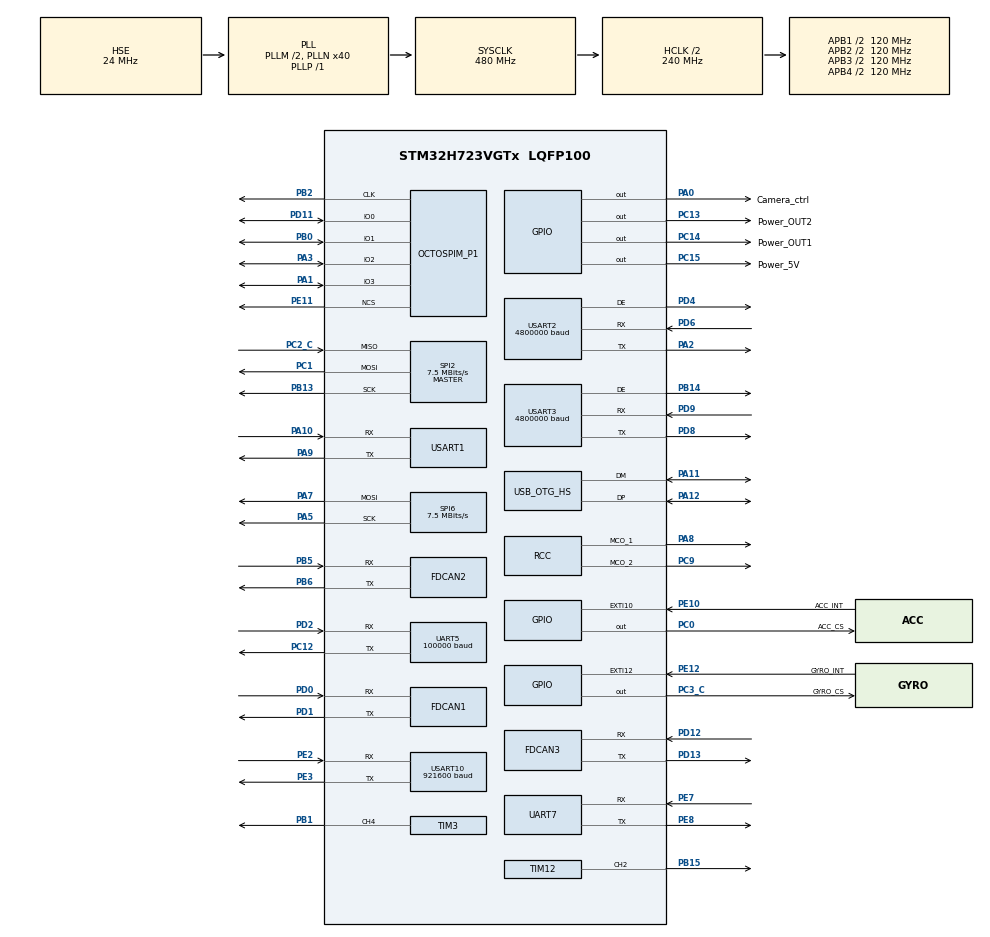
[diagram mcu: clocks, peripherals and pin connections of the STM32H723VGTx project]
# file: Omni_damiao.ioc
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CORTEX_M7.AccessPermission-Cortex_Memory_Protection_Unit_Region0_Settings=MPU_REGION_PRIV_RO
CORTEX_M7.AccessPermission-Cortex_Memory_Protection_Unit_Region1_Settings=MPU_REGION_FULL_ACCESS
CORTEX_M7.BaseAddress-Cortex_Memory_Protection_Unit_Region0_Settings=0x08000000
CORTEX_M7.BaseAddress-Cortex_Memory_Protection_Unit_Region1_Settings=0x20000000
CORTEX_M7.Enable-Cortex_Memory_Protection_Unit_Region0_Settings=MPU_REGION_ENABLE
CORTEX_M7.Enable-Cortex_Memory_Protection_Unit_Region1_Settings=MPU_REGION_ENABLE
CORTEX_M7.IsCacheable-Cortex_Memory_Protection_Unit_Region0_Settings=MPU_ACCESS_CACHEABLE
CORTEX_M7.MPU_Control=MPU_PRIVILEGED_DEFAULT
CORTEX_M7.Number-Cortex_Memory_Protection_Unit_Region1_Settings=MPU_REGION_NUMBER1
CORTEX_M7.Number-Cortex_Memory_Protection_Unit_Region2_Settings=MPU_REGION_NUMBER2
CORTEX_M7.Number-Cortex_Memory_Protection_Unit_Region3_Settings=MPU_REGION_NUMBER3
CORTEX_M7.Number-Cortex_Memory_Protection_Unit_Region4_Settings=MPU_REGION_NUMBER4
CORTEX_M7.Size-Cortex_Memory_Protection_Unit_Region0_Settings=MPU_REGION_SIZE_1MB
CORTEX_M7.Size-Cortex_Memory_Protection_Unit_Region1_Settings=MPU_REGION_SIZE_128MB
CORTEX_M7.SubRegionDisable-Cortex_Memory_Protection_Unit_Region1_Settings=0xEE
CORTEX_M7.TypeExtField-Cortex_Memory_Protection_Unit_Region0_Settings=MPU_TEX_LEVEL1
CORTEX_M7.TypeExtField-Cortex_Memory_Protection_Unit_Region1_Settings=MPU_TEX_LEVEL1
Dma.Request0=SPI2_RX
Dma.Request1=SPI2_TX
Dma.Request10=USART2_TX
Dma.Request11=USART1_RX
Dma.Request12=USART1_TX
Dma.Request2=UART5_RX
Dma.Request3=UART7_RX
Dma.Request4=UART7_TX
Dma.Request5=USART10_RX
Dma.Request6=USART10_TX
Dma.Request7=USART3_RX
Dma.Request8=USART3_TX
Dma.Request9=USART2_RX
Dma.SPI2_RX.0.Direction=DMA_PERIPH_TO_MEMORY
Dma.SPI2_RX.0.EventEnable=DISABLE
Dma.SPI2_RX.0.FIFOMode=DMA_FIFOMODE_DISABLE
Dma.SPI2_RX.0.Instance=DMA1_Stream0
Dma.SPI2_RX.0.MemDataAlignment=DMA_MDATAALIGN_BYTE
Dma.SPI2_RX.0.MemInc=DMA_MINC_ENABLE
Dma.SPI2_RX.0.Mode=DMA_NORMAL
Dma.SPI2_RX.0.PeriphDataAlignment=DMA_PDATAALIGN_BYTE
Dma.SPI2_RX.0.PeriphInc=DMA_PINC_DISABLE
Dma.SPI2_RX.0.Polarity=HAL_DMAMUX_REQ_GEN_RISING
Dma.SPI2_RX.0.Priority=DMA_PRIORITY_VERY_HIGH
Dma.SPI2_RX.0.RequestNumber=1
Dma.SPI2_RX.0.SignalID=NONE
Dma.SPI2_RX.0.SyncEnable=DISABLE
Dma.SPI2_RX.0.SyncPolarity=HAL_DMAMUX_SYNC_NO_EVENT
Dma.SPI2_RX.0.SyncRequestNumber=1
Dma.SPI2_RX.0.SyncSignalID=NONE
Dma.SPI2_TX.1.Direction=DMA_MEMORY_TO_PERIPH
Dma.SPI2_TX.1.EventEnable=DISABLE
Dma.SPI2_TX.1.FIFOMode=DMA_FIFOMODE_DISABLE
Dma.SPI2_TX.1.Instance=DMA1_Stream1
Dma.SPI2_TX.1.MemDataAlignment=DMA_MDATAALIGN_BYTE
Dma.SPI2_TX.1.MemInc=DMA_MINC_ENABLE
Dma.SPI2_TX.1.Mode=DMA_NORMAL
Dma.SPI2_TX.1.PeriphDataAlignment=DMA_PDATAALIGN_BYTE
Dma.SPI2_TX.1.PeriphInc=DMA_PINC_DISABLE
Dma.SPI2_TX.1.Polarity=HAL_DMAMUX_REQ_GEN_RISING
Dma.SPI2_TX.1.Priority=DMA_PRIORITY_VERY_HIGH
Dma.SPI2_TX.1.RequestNumber=1
Dma.SPI2_TX.1.SignalID=NONE
Dma.SPI2_TX.1.SyncEnable=DISABLE
Dma.SPI2_TX.1.SyncPolarity=HAL_DMAMUX_SYNC_NO_EVENT
Dma.SPI2_TX.1.SyncRequestNumber=1
Dma.SPI2_TX.1.SyncSignalID=NONE
Dma.UART5_RX.2.Direction=DMA_PERIPH_TO_MEMORY
Dma.UART5_RX.2.EventEnable=DISABLE
Dma.UART5_RX.2.FIFOMode=DMA_FIFOMODE_DISABLE
Dma.UART5_RX.2.Instance=DMA1_Stream2
Dma.UART5_RX.2.MemDataAlignment=DMA_MDATAALIGN_BYTE
Dma.UART5_RX.2.MemInc=DMA_MINC_ENABLE
Dma.UART5_RX.2.Mode=DMA_NORMAL
Dma.UART5_RX.2.PeriphDataAlignment=DMA_PDATAALIGN_BYTE
Dma.UART5_RX.2.PeriphInc=DMA_PINC_DISABLE
Dma.UART5_RX.2.Polarity=HAL_DMAMUX_REQ_GEN_RISING
Dma.UART5_RX.2.Priority=DMA_PRIORITY_VERY_HIGH
Dma.UART5_RX.2.RequestNumber=1
Dma.UART5_RX.2.SignalID=NONE
Dma.UART5_RX.2.SyncEnable=DISABLE
Dma.UART5_RX.2.SyncPolarity=HAL_DMAMUX_SYNC_NO_EVENT
Dma.UART5_RX.2.SyncRequestNumber=1
Dma.UART5_RX.2.SyncSignalID=NONE
Dma.UART7_RX.3.Direction=DMA_PERIPH_TO_MEMORY
Dma.UART7_RX.3.EventEnable=DISABLE
Dma.UART7_RX.3.FIFOMode=DMA_FIFOMODE_DISABLE
Dma.UART7_RX.3.Instance=DMA1_Stream3
Dma.UART7_RX.3.MemDataAlignment=DMA_MDATAALIGN_BYTE
Dma.UART7_RX.3.MemInc=DMA_MINC_ENABLE
Dma.UART7_RX.3.Mode=DMA_NORMAL
Dma.UART7_RX.3.PeriphDataAlignment=DMA_PDATAALIGN_BYTE
Dma.UART7_RX.3.PeriphInc=DMA_PINC_DISABLE
Dma.UART7_RX.3.Polarity=HAL_DMAMUX_REQ_GEN_RISING
Dma.UART7_RX.3.Priority=DMA_PRIORITY_VERY_HIGH
Dma.UART7_RX.3.RequestNumber=1
Dma.UART7_RX.3.SignalID=NONE
Dma.UART7_RX.3.SyncEnable=DISABLE
Dma.UART7_RX.3.SyncPolarity=HAL_DMAMUX_SYNC_NO_EVENT
Dma.UART7_RX.3.SyncRequestNumber=1
Dma.UART7_RX.3.SyncSignalID=NONE
Dma.UART7_TX.4.Direction=DMA_MEMORY_TO_PERIPH
Dma.UART7_TX.4.EventEnable=DISABLE
Dma.UART7_TX.4.FIFOMode=DMA_FIFOMODE_DISABLE
Dma.UART7_TX.4.Instance=DMA1_Stream4
Dma.UART7_TX.4.MemDataAlignment=DMA_MDATAALIGN_BYTE
Dma.UART7_TX.4.MemInc=DMA_MINC_ENABLE
Dma.UART7_TX.4.Mode=DMA_NORMAL
Dma.UART7_TX.4.PeriphDataAlignment=DMA_PDATAALIGN_BYTE
Dma.UART7_TX.4.PeriphInc=DMA_PINC_DISABLE
Dma.UART7_TX.4.Polarity=HAL_DMAMUX_REQ_GEN_RISING
Dma.UART7_TX.4.Priority=DMA_PRIORITY_VERY_HIGH
Dma.UART7_TX.4.RequestNumber=1
Dma.UART7_TX.4.SignalID=NONE
Dma.UART7_TX.4.SyncEnable=DISABLE
Dma.UART7_TX.4.SyncPolarity=HAL_DMAMUX_SYNC_NO_EVENT
Dma.UART7_TX.4.SyncRequestNumber=1
Dma.UART7_TX.4.SyncSignalID=NONE
Dma.USART10_RX.5.Direction=DMA_PERIPH_TO_MEMORY
Dma.USART10_RX.5.EventEnable=DISABLE
Dma.USART10_RX.5.FIFOMode=DMA_FIFOMODE_DISABLE
Dma.USART10_RX.5.Instance=DMA1_Stream5
Dma.USART10_RX.5.MemDataAlignment=DMA_MDATAALIGN_BYTE
Dma.USART10_RX.5.MemInc=DMA_MINC_ENABLE
Dma.USART10_RX.5.Mode=DMA_NORMAL
Dma.USART10_RX.5.PeriphDataAlignment=DMA_PDATAALIGN_BYTE
Dma.USART10_RX.5.PeriphInc=DMA_PINC_DISABLE
Dma.USART10_RX.5.Polarity=HAL_DMAMUX_REQ_GEN_RISING
Dma.USART10_RX.5.Priority=DMA_PRIORITY_VERY_HIGH
Dma.USART10_RX.5.RequestNumber=1
Dma.USART10_RX.5.SignalID=NONE
Dma.USART10_RX.5.SyncEnable=DISABLE
Dma.USART10_RX.5.SyncPolarity=HAL_DMAMUX_SYNC_NO_EVENT
Dma.USART10_RX.5.SyncRequestNumber=1
Dma.USART10_RX.5.SyncSignalID=NONE
Dma.USART10_TX.6.Direction=DMA_MEMORY_TO_PERIPH
Dma.USART10_TX.6.EventEnable=DISABLE
Dma.USART10_TX.6.FIFOMode=DMA_FIFOMODE_DISABLE
Dma.USART10_TX.6.Instance=DMA1_Stream6
Dma.USART10_TX.6.MemDataAlignment=DMA_MDATAALIGN_BYTE
Dma.USART10_TX.6.MemInc=DMA_MINC_ENABLE
Dma.USART10_TX.6.Mode=DMA_NORMAL
Dma.USART10_TX.6.PeriphDataAlignment=DMA_PDATAALIGN_BYTE
Dma.USART10_TX.6.PeriphInc=DMA_PINC_DISABLE
Dma.USART10_TX.6.Polarity=HAL_DMAMUX_REQ_GEN_RISING
Dma.USART10_TX.6.Priority=DMA_PRIORITY_VERY_HIGH
Dma.USART10_TX.6.RequestNumber=1
Dma.USART10_TX.6.SignalID=NONE
Dma.USART10_TX.6.SyncEnable=DISABLE
Dma.USART10_TX.6.SyncPolarity=HAL_DMAMUX_SYNC_NO_EVENT
Dma.USART10_TX.6.SyncRequestNumber=1
Dma.USART10_TX.6.SyncSignalID=NONE
Dma.USART1_RX.11.Direction=DMA_PERIPH_TO_MEMORY
Dma.USART1_RX.11.EventEnable=DISABLE
Dma.USART1_RX.11.FIFOMode=DMA_FIFOMODE_DISABLE
Dma.USART1_RX.11.Instance=DMA2_Stream3
Dma.USART1_RX.11.MemDataAlignment=DMA_MDATAALIGN_BYTE
Dma.USART1_RX.11.MemInc=DMA_MINC_ENABLE
Dma.USART1_RX.11.Mode=DMA_NORMAL
Dma.USART1_RX.11.PeriphDataAlignment=DMA_PDATAALIGN_BYTE
Dma.USART1_RX.11.PeriphInc=DMA_PINC_DISABLE
Dma.USART1_RX.11.Polarity=HAL_DMAMUX_REQ_GEN_RISING
Dma.USART1_RX.11.Priority=DMA_PRIORITY_LOW
Dma.USART1_RX.11.RequestNumber=1
Dma.USART1_RX.11.SignalID=NONE
Dma.USART1_RX.11.SyncEnable=DISABLE
Dma.USART1_RX.11.SyncPolarity=HAL_DMAMUX_SYNC_NO_EVENT
Dma.USART1_RX.11.SyncRequestNumber=1
Dma.USART1_RX.11.SyncSignalID=NONE
Dma.USART1_TX.12.Direction=DMA_MEMORY_TO_PERIPH
Dma.USART1_TX.12.EventEnable=DISABLE
Dma.USART1_TX.12.FIFOMode=DMA_FIFOMODE_DISABLE
Dma.USART1_TX.12.Instance=DMA2_Stream4
Dma.USART1_TX.12.MemDataAlignment=DMA_MDATAALIGN_BYTE
Dma.USART1_TX.12.MemInc=DMA_MINC_ENABLE
Dma.USART1_TX.12.Mode=DMA_NORMAL
Dma.USART1_TX.12.PeriphDataAlignment=DMA_PDATAALIGN_BYTE
Dma.USART1_TX.12.PeriphInc=DMA_PINC_DISABLE
Dma.USART1_TX.12.Polarity=HAL_DMAMUX_REQ_GEN_RISING
Dma.USART1_TX.12.Priority=DMA_PRIORITY_LOW
Dma.USART1_TX.12.RequestNumber=1
Dma.USART1_TX.12.SignalID=NONE
Dma.USART1_TX.12.SyncEnable=DISABLE
Dma.USART1_TX.12.SyncPolarity=HAL_DMAMUX_SYNC_NO_EVENT
Dma.USART1_TX.12.SyncRequestNumber=1
Dma.USART1_TX.12.SyncSignalID=NONE
Dma.USART2_RX.9.Direction=DMA_PERIPH_TO_MEMORY
Dma.USART2_RX.9.EventEnable=DISABLE
Dma.USART2_RX.9.FIFOMode=DMA_FIFOMODE_DISABLE
Dma.USART2_RX.9.Instance=DMA2_Stream1
Dma.USART2_RX.9.MemDataAlignment=DMA_MDATAALIGN_BYTE
Dma.USART2_RX.9.MemInc=DMA_MINC_ENABLE
Dma.USART2_RX.9.Mode=DMA_NORMAL
Dma.USART2_RX.9.PeriphDataAlignment=DMA_PDATAALIGN_BYTE
Dma.USART2_RX.9.PeriphInc=DMA_PINC_DISABLE
Dma.USART2_RX.9.Polarity=HAL_DMAMUX_REQ_GEN_RISING
Dma.USART2_RX.9.Priority=DMA_PRIORITY_VERY_HIGH
Dma.USART2_RX.9.RequestNumber=1
Dma.USART2_RX.9.SignalID=NONE
Dma.USART2_RX.9.SyncEnable=DISABLE
Dma.USART2_RX.9.SyncPolarity=HAL_DMAMUX_SYNC_NO_EVENT
Dma.USART2_RX.9.SyncRequestNumber=1
Dma.USART2_RX.9.SyncSignalID=NONE
Dma.USART2_TX.10.Direction=DMA_MEMORY_TO_PERIPH
Dma.USART2_TX.10.EventEnable=DISABLE
Dma.USART2_TX.10.FIFOMode=DMA_FIFOMODE_DISABLE
Dma.USART2_TX.10.Instance=DMA2_Stream2
Dma.USART2_TX.10.MemDataAlignment=DMA_MDATAALIGN_BYTE
Dma.USART2_TX.10.MemInc=DMA_MINC_ENABLE
Dma.USART2_TX.10.Mode=DMA_NORMAL
Dma.USART2_TX.10.PeriphDataAlignment=DMA_PDATAALIGN_BYTE
Dma.USART2_TX.10.PeriphInc=DMA_PINC_DISABLE
Dma.USART2_TX.10.Polarity=HAL_DMAMUX_REQ_GEN_RISING
Dma.USART2_TX.10.Priority=DMA_PRIORITY_VERY_HIGH
Dma.USART2_TX.10.RequestNumber=1
Dma.USART2_TX.10.SignalID=NONE
Dma.USART2_TX.10.SyncEnable=DISABLE
Dma.USART2_TX.10.SyncPolarity=HAL_DMAMUX_SYNC_NO_EVENT
Dma.USART2_TX.10.SyncRequestNumber=1
Dma.USART2_TX.10.SyncSignalID=NONE
Dma.USART3_RX.7.Direction=DMA_PERIPH_TO_MEMORY
Dma.USART3_RX.7.EventEnable=DISABLE
Dma.USART3_RX.7.FIFOMode=DMA_FIFOMODE_DISABLE
Dma.USART3_RX.7.Instance=DMA1_Stream7
Dma.USART3_RX.7.MemDataAlignment=DMA_MDATAALIGN_BYTE
Dma.USART3_RX.7.MemInc=DMA_MINC_ENABLE
Dma.USART3_RX.7.Mode=DMA_NORMAL
Dma.USART3_RX.7.PeriphDataAlignment=DMA_PDATAALIGN_BYTE
Dma.USART3_RX.7.PeriphInc=DMA_PINC_DISABLE
Dma.USART3_RX.7.Polarity=HAL_DMAMUX_REQ_GEN_RISING
Dma.USART3_RX.7.Priority=DMA_PRIORITY_VERY_HIGH
Dma.USART3_RX.7.RequestNumber=1
Dma.USART3_RX.7.SignalID=NONE
Dma.USART3_RX.7.SyncEnable=DISABLE
Dma.USART3_RX.7.SyncPolarity=HAL_DMAMUX_SYNC_NO_EVENT
Dma.USART3_RX.7.SyncRequestNumber=1
Dma.USART3_RX.7.SyncSignalID=NONE
Dma.USART3_TX.8.Direction=DMA_MEMORY_TO_PERIPH
Dma.USART3_TX.8.EventEnable=DISABLE
Dma.USART3_TX.8.FIFOMode=DMA_FIFOMODE_DISABLE
Dma.USART3_TX.8.Instance=DMA2_Stream0
Dma.USART3_TX.8.MemDataAlignment=DMA_MDATAALIGN_BYTE
Dma.USART3_TX.8.MemInc=DMA_MINC_ENABLE
Dma.USART3_TX.8.Mode=DMA_NORMAL
Dma.USART3_TX.8.PeriphDataAlignment=DMA_PDATAALIGN_BYTE
Dma.USART3_TX.8.PeriphInc=DMA_PINC_DISABLE
Dma.USART3_TX.8.Polarity=HAL_DMAMUX_REQ_GEN_RISING
Dma.USART3_TX.8.Priority=DMA_PRIORITY_VERY_HIGH
Dma.USART3_TX.8.RequestNumber=1
Dma.USART3_TX.8.SignalID=NONE
Dma.USART3_TX.8.SyncEnable=DISABLE
Dma.USART3_TX.8.SyncPolarity=HAL_DMAMUX_SYNC_NO_EVENT
Dma.USART3_TX.8.SyncRequestNumber=1
Dma.USART3_TX.8.SyncSignalID=NONE
FDCAN1.AutoRetransmission=DISABLE
FDCAN1.CalculateBaudRateNominal=1000000
FDCAN1.CalculateTimeBitNominal=1000
FDCAN1.CalculateTimeQuantumNominal=25.0
FDCAN1.DataPrescaler=3
FDCAN1.DataSyncJumpWidth=10
FDCAN1.DataTimeSeg1=29
FDCAN1.DataTimeSeg2=10
FDCAN1.NominalPrescaler=3
FDCAN1.NominalSyncJumpWidth=10
FDCAN1.NominalTimeSeg1=29
FDCAN1.NominalTimeSeg2=10
FDCAN1.RxFifo0ElmtsNbr=4
FDCAN1.StdFiltersNbr=1
FDCAN1.TxFifoQueueElmtsNbr=32
FDCAN2.AutoRetransmission=DISABLE
FDCAN2.CalculateBaudRateNominal=1000000
FDCAN2.CalculateTimeBitNominal=1000
FDCAN2.CalculateTimeQuantumNominal=25.0
FDCAN2.DataPrescaler=3
FDCAN2.DataSyncJumpWidth=10
FDCAN2.DataTimeSeg1=29
FDCAN2.DataTimeSeg2=10
FDCAN2.MessageRAMOffset=0x406
FDCAN2.NominalPrescaler=3
FDCAN2.NominalSyncJumpWidth=10
FDCAN2.NominalTimeSeg1=29
FDCAN2.NominalTimeSeg2=10
FDCAN2.RxFifo0ElmtsNbr=4
FDCAN2.StdFiltersNbr=1
FDCAN2.TxFifoQueueElmtsNbr=32
FDCAN3.AutoRetransmission=DISABLE
FDCAN3.CalculateBaudRateNominal=1000000
FDCAN3.CalculateTimeBitNominal=1000
FDCAN3.CalculateTimeQuantumNominal=25.0
FDCAN3.DataPrescaler=3
FDCAN3.DataSyncJumpWidth=10
FDCAN3.DataTimeSeg1=29
FDCAN3.DataTimeSeg2=10
FDCAN3.MessageRAMOffset=0x812
FDCAN3.NominalPrescaler=3
FDCAN3.NominalSyncJumpWidth=10
FDCAN3.NominalTimeSeg1=29
FDCAN3.NominalTimeSeg2=10
FDCAN3.RxFifo0ElmtsNbr=4
FDCAN3.StdFiltersNbr=1
FDCAN3.TxFifoQueueElmtsNbr=32
FREERTOS.Tasks01=Remote_control,24,512,Remote_control_Task,Default,NULL,Dynamic,NULL,NULL;Gimbal,8,512,Gimbal_Task,Default,NULL,Dynamic,NULL,NULL;Chassis,8,1024,Chassis_Task,Default,NULL,Dynamic,NULL,NULL;Motor_control,8,256,Motor_control_Task,Default,NULL,Dynamic,NULL,NULL;Shoot,8,256,Shoot_Task,Default,NULL,Dynamic,NULL,NULL;Referee,8,512,Referee_Task,Default,NULL,Dynamic,NULL,NULL;Log_and_debug,8,256,Log_and_debug_Task,Default,NULL,Dynamic,NULL,NULL
FREERTOS.configENABLE_FPU=1
FREERTOS.configUSE_IDLE_HOOK=1
Mcu.Family=STM32H7
Mcu.Name=STM32H723VGTx
Mcu.Package=LQFP100
NVIC.DMA1_Stream0_IRQn=true\:5\:0\:false\:false\:true\:true\:false\:true\:true
NVIC.DMA1_Stream1_IRQn=true\:5\:0\:false\:false\:true\:true\:false\:true\:true
NVIC.DMA1_Stream2_IRQn=true\:5\:0\:false\:false\:true\:true\:false\:true\:true
NVIC.DMA1_Stream3_IRQn=true\:5\:0\:true\:false\:true\:true\:false\:true\:true
NVIC.DMA1_Stream4_IRQn=true\:5\:0\:true\:false\:true\:true\:false\:true\:true
NVIC.DMA1_Stream5_IRQn=true\:5\:0\:false\:false\:true\:true\:false\:true\:true
NVIC.DMA1_Stream6_IRQn=true\:5\:0\:false\:false\:true\:true\:false\:true\:true
NVIC.DMA1_Stream7_IRQn=true\:5\:0\:false\:false\:true\:true\:false\:true\:true
NVIC.DMA2_Stream0_IRQn=true\:5\:0\:false\:false\:true\:true\:false\:true\:true
NVIC.DMA2_Stream1_IRQn=true\:5\:0\:false\:false\:true\:true\:false\:true\:true
NVIC.DMA2_Stream2_IRQn=true\:5\:0\:false\:false\:true\:true\:false\:true\:true
NVIC.DMA2_Stream3_IRQn=true\:5\:0\:false\:false\:true\:true\:false\:true\:true
NVIC.DMA2_Stream4_IRQn=true\:5\:0\:false\:false\:true\:true\:false\:true\:true
NVIC.FDCAN1_IT0_IRQn=true\:5\:0\:false\:false\:true\:true\:true\:true\:true
NVIC.FDCAN1_IT1_IRQn=true\:5\:0\:false\:false\:true\:true\:true\:true\:true
NVIC.FDCAN2_IT0_IRQn=true\:5\:0\:false\:false\:true\:true\:true\:true\:true
NVIC.FDCAN2_IT1_IRQn=true\:5\:0\:false\:false\:true\:true\:true\:true\:true
NVIC.FDCAN3_IT0_IRQn=true\:5\:0\:false\:false\:true\:true\:true\:true\:true
NVIC.FDCAN3_IT1_IRQn=true\:5\:0\:false\:false\:true\:true\:true\:true\:true
NVIC.OTG_HS_IRQn=true\:5\:0\:false\:false\:true\:true\:true\:true\:true
NVIC.PriorityGroup=NVIC_PRIORITYGROUP_4
NVIC.SPI2_IRQn=true\:5\:0\:false\:false\:true\:true\:true\:true\:true
NVIC.TIM23_IRQn=true\:15\:0\:true\:false\:true\:false\:false\:true\:true
NVIC.TIM8_BRK_TIM12_IRQn=true\:5\:0\:false\:false\:true\:true\:true\:true\:true
NVIC.TIM8_TRG_COM_TIM14_IRQn=true\:5\:0\:false\:false\:true\:true\:true\:true\:true
NVIC.TIM8_UP_TIM13_IRQn=true\:5\:0\:true\:false\:true\:true\:true\:true\:true
NVIC.TimeBase=TIM23_IRQn
NVIC.TimeBaseIP=TIM23
NVIC.UART5_IRQn=true\:5\:0\:false\:false\:true\:true\:true\:true\:true
NVIC.UART7_IRQn=true\:5\:0\:true\:false\:true\:true\:true\:true\:true
NVIC.USART10_IRQn=true\:5\:0\:false\:false\:true\:true\:true\:true\:true
NVIC.USART1_IRQn=true\:5\:0\:false\:false\:true\:true\:true\:true\:true
NVIC.USART2_IRQn=true\:5\:0\:false\:false\:true\:true\:true\:true\:true
NVIC.USART3_IRQn=true\:5\:0\:false\:false\:true\:true\:true\:true\:true
OCTOSPI2.ClockMode=HAL_OSPI_CLOCK_MODE_3
OCTOSPI2.ClockPrescaler=3
OCTOSPI2.DeviceSize=23
OCTOSPI2.DeviceType=SPI_DEVICE_FLASH
OCTOSPI2.FifoThreshold=8
OCTOSPI2.SampleShifting=HAL_OSPI_SAMPLE_SHIFTING_HALFCYCLE
PA0.GPIO_Label=Camera_ctrl
PA0.GPIO_PuPd=GPIO_PULLDOWN
PA0.GPIO_Speed=GPIO_SPEED_FREQ_VERY_HIGH
PA0.PinState=GPIO_PIN_SET
PA0.Signal=GPIO_Output
PA1.Mode=OCTOSPI2_IOL_Port1L
PA1.Signal=OCTOSPIM_P1_IO3
PA10.Mode=Asynchronous
PA10.Signal=USART1_RX
PA11.Mode=Device_Only_FS
PA11.Signal=USB_OTG_HS_DM
PA12.Mode=Device_Only_FS
PA12.Signal=USB_OTG_HS_DP
PA13(JTMS/SWDIO).Mode=Serial_Wire
PA13(JTMS/SWDIO).Signal=DEBUG_JTMS-SWDIO
PA14(JTCK/SWCLK).Mode=Serial_Wire
PA14(JTCK/SWCLK).Signal=DEBUG_JTCK-SWCLK
PA2.Mode=Asynchronous
PA2.Signal=USART2_TX
PA3.Mode=OCTOSPI2_IOL_Port1L
PA3.Signal=OCTOSPIM_P1_IO2
PA5.GPIO_Speed=GPIO_SPEED_FREQ_VERY_HIGH
PA5.Mode=TX_Only_Simplex_Unidirect_Master
PA5.Signal=SPI6_SCK
PA7.Mode=TX_Only_Simplex_Unidirect_Master
PA7.Signal=SPI6_MOSI
PA8.Mode=Clock-out-1
PA8.Signal=RCC_MCO_1
PA9.Mode=Asynchronous
PA9.Signal=USART1_TX
PB0.Mode=OCTOSPI2_IOL_Port1L
PB0.Signal=OCTOSPIM_P1_IO1
PB1.Signal=S_TIM3_CH4
PB13.Mode=Full_Duplex_Master
PB13.Signal=SPI2_SCK
PB14.Mode=Hardware Flow Control (RS485)
PB14.Signal=USART3_DE
PB15.Signal=S_TIM12_CH2
PB2.Mode=O2_P1_CLK
PB2.Signal=OCTOSPIM_P1_CLK
PB5.Mode=FDCAN_Activate
PB5.Signal=FDCAN2_RX
PB6.Mode=FDCAN_Activate
PB6.Signal=FDCAN2_TX
PC0.GPIO_Label=ACC_CS
PC0.GPIO_Speed=GPIO_SPEED_FREQ_VERY_HIGH
PC0.PinState=GPIO_PIN_SET
PC0.Signal=GPIO_Output
PC1.Mode=Full_Duplex_Master
PC1.Signal=SPI2_MOSI
PC12.Mode=Asynchronous
PC12.Signal=UART5_TX
PC13.GPIO_Label=Power_OUT2
PC13.PinState=GPIO_PIN_SET
PC13.Signal=GPIO_Output
PC14-OSC32_IN.GPIO_Label=Power_OUT1
PC14-OSC32_IN.PinState=GPIO_PIN_SET
PC14-OSC32_IN.Signal=GPIO_Output
PC15-OSC32_OUT.GPIO_Label=Power_5V
PC15-OSC32_OUT.Signal=GPIO_Output
PC2_C.Mode=Full_Duplex_Master
PC2_C.Signal=SPI2_MISO
PC3_C.GPIO_Label=GYRO_CS
PC3_C.GPIO_Speed=GPIO_SPEED_FREQ_VERY_HIGH
PC3_C.PinState=GPIO_PIN_SET
PC3_C.Signal=GPIO_Output
PC9.Mode=Clock-out-2
PC9.Signal=RCC_MCO_2
PD0.Mode=FDCAN_Activate
PD0.Signal=FDCAN1_RX
PD1.Mode=FDCAN_Activate
PD1.Signal=FDCAN1_TX
PD11.Mode=OCTOSPI2_IOL_Port1L
PD11.Signal=OCTOSPIM_P1_IO0
PD12.Mode=FDCAN_Activate
PD12.Signal=FDCAN3_RX
PD13.Mode=FDCAN_Activate
PD13.Signal=FDCAN3_TX
PD2.Mode=Asynchronous
PD2.Signal=UART5_RX
PD4.Mode=Hardware Flow Control (RS485)
PD4.Signal=USART2_DE
PD6.Mode=Asynchronous
PD6.Signal=USART2_RX
PD8.Mode=Asynchronous
PD8.Signal=USART3_TX
PD9.Mode=Asynchronous
PD9.Signal=USART3_RX
PE10.GPIO_Label=ACC_INT
PE10.Signal=GPXTI10
PE11.Mode=OCTOSPI2_Port1_NCS
PE11.Signal=OCTOSPIM_P1_NCS
PE12.GPIO_Label=GYRO_INT
PE12.Signal=GPXTI12
PE2.GPIO_Speed=GPIO_SPEED_FREQ_VERY_HIGH
PE2.Mode=Asynchronous
PE2.Signal=USART10_RX
PE3.GPIO_Speed=GPIO_SPEED_FREQ_VERY_HIGH
PE3.Mode=Asynchronous
PE3.Signal=USART10_TX
PE7.GPIO_Speed=GPIO_SPEED_FREQ_VERY_HIGH
PE7.Mode=Asynchronous
PE7.Signal=UART7_RX
PE8.GPIO_Speed=GPIO_SPEED_FREQ_VERY_HIGH
PE8.Mode=Asynchronous
PE8.Signal=UART7_TX
PH0-OSC_IN.Mode=HSE-External-Oscillator
PH0-OSC_IN.Signal=RCC_OSC_IN
PH1-OSC_OUT.Mode=HSE-External-Oscillator
PH1-OSC_OUT.Signal=RCC_OSC_OUT
ProjectManager.HeapSize=0x200
ProjectManager.StackSize=0x400
ProjectManager.TargetToolchain=Makefile
RCC.ADCFreq_Value=48375000
RCC.APB1Freq_Value=120000000
RCC.APB2Freq_Value=120000000
RCC.APB3Freq_Value=120000000
RCC.APB4Freq_Value=120000000
RCC.CortexFreq_Value=480000000
RCC.D1PPRE=RCC_APB3_DIV2
RCC.D2PPRE1=RCC_APB1_DIV2
RCC.D2PPRE2=RCC_APB2_DIV2
RCC.D3PPRE=RCC_APB4_DIV2
RCC.DIVM1=2
RCC.DIVN1=40
RCC.DIVP1=1
RCC.DIVQ1=4
RCC.HCLKFreq_Value=240000000
RCC.HPRE=RCC_HCLK_DIV2
RCC.HSE_VALUE=24000000
RCC.PLLFRACN=0
RCC.PLLSourceVirtual=RCC_PLLSOURCE_HSE
RCC.SYSCLKFreq_VALUE=480000000
RCC.SYSCLKSource=RCC_SYSCLKSOURCE_PLLCLK
RCC.USBCLockSelection=RCC_USBCLKSOURCE_HSI48
RCC.USBFreq_Value=48000000
SH.S_TIM12_CH2.0=TIM12_CH2,PWM Generation2 CH2
SH.S_TIM3_CH4.0=TIM3_CH4,PWM Generation4 CH4
SPI2.BaudRatePrescaler=SPI_BAUDRATEPRESCALER_16
SPI2.CLKPhase=SPI_PHASE_2EDGE
SPI2.CLKPolarity=SPI_POLARITY_HIGH
SPI2.CalculateBaudRate=7.5 MBits/s
SPI2.DataSize=SPI_DATASIZE_8BIT
SPI2.Direction=SPI_DIRECTION_2LINES
SPI2.Mode=SPI_MODE_MASTER
SPI2.VirtualType=VM_MASTER
SPI6.BaudRatePrescaler=SPI_BAUDRATEPRESCALER_16
SPI6.CLKPhase=SPI_PHASE_2EDGE
SPI6.CLKPolarity=SPI_POLARITY_HIGH
SPI6.CalculateBaudRate=7.5 MBits/s
SPI6.DataSize=SPI_DATASIZE_8BIT
SPI6.Direction=SPI_DIRECTION_2LINES_TXONLY
SPI6.Mode=SPI_MODE_MASTER
SPI6.VirtualType=VM_MASTER
TIM12.Channel-PWM\ Generation2\ CH2=TIM_CHANNEL_2
TIM12.Period=250-1
TIM12.Prescaler=240-1
TIM13.Period=100-1
TIM13.Prescaler=2400-1
TIM14.Period=500-1
TIM14.Prescaler=2400-1
TIM3.Channel-PWM\ Generation4\ CH4=TIM_CHANNEL_4
TIM3.Period=20000-1
TIM3.Prescaler=240-1
UART5.BaudRate=100000
UART5.Parity=PARITY_EVEN
UART5.StopBits=UART_STOPBITS_1
UART5.WordLength=WORDLENGTH_9B
USART1.VirtualMode-Asynchronous=VM_ASYNC
USART10.BaudRate=921600
USART10.VirtualMode=VM_ASYNC
USART2.BaudRate=4800000
USART2.VirtualMode-Asynchronous=VM_ASYNC
USART2.VirtualMode-Hardware\ Flow\ Control\ (RS485)=VM_ASYNC
USART3.BaudRate=4800000
USART3.VirtualMode-Asynchronous=VM_ASYNC
USART3.VirtualMode-Hardware\ Flow\ Control\ (RS485)=VM_ASYNC
USB_DEVICE.CLASS_NAME_HS=CDC
USB_DEVICE.VirtualMode=Cdc
USB_DEVICE.VirtualModeHS=Cdc_HS
USB_OTG_HS.VirtualMode-Device_Only_FS=Device_Only_FS
VP_FREERTOS_VS_CMSIS_V2.Mode=CMSIS_V2
VP_IWDG1_VS_IWDG.Mode=IWDG_Activate
VP_MEMORYMAP_VS_MEMORYMAP.Mode=CurAppReg
VP_OCTOSPI2_VS_quad.Mode=quad_mode
VP_SYS_VS_tim23.Mode=TIM23
VP_TIM12_VS_ClockSourceINT.Mode=Internal
VP_TIM13_VS_ClockSourceINT.Mode=Enable_Timer
VP_TIM14_VS_ClockSourceINT.Mode=Enable_Timer
VP_USB_DEVICE_VS_USB_DEVICE_CDC_HS.Mode=CDC_HS
board=custom

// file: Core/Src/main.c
/* USER CODE BEGIN Header */
/**
 ******************************************************************************
 * @file           : main.c
 * @brief          : Main program body
 ******************************************************************************
 * @attention
 *
 * Copyright (c) 2024 STMicroelectronics.
 * All rights reserved.
 *
 * This software is licensed under terms that can be found in the LICENSE file
 * in the root directory of this software component.
 * If no LICENSE file comes with this software, it is provided AS-IS.
 *
 ******************************************************************************
 */
/* USER CODE END Header */
#include "main.h"
#include "cmsis_os.h"
#include "dma.h"
#include "fdcan.h"
#include "iwdg.h"
#include "memorymap.h"
#include "octospi.h"
#include "spi.h"
#include "tim.h"
#include "usart.h"
#include "usb_device.h"
#include "gpio.h"

/* USER CODE BEGIN Includes */
#include "UART_data_txrx.h"
#include "CAN_receive_send.h"

#include "motor.h"
#include "supercup.h"
/* #include "IMU_updata.h" */
#include "L1.h"
#include "LED.h"
#include "Power_switch.h"
#include "referee_system.h"

#include "music.h"
#include "Chassis.h"
#include "Gimbal.h"
#include "shoot.h"
#include "Auto_control.h"
#include "Global_status.h"
/* USER CODE END Includes */

/* USER CODE BEGIN PV */
uint8_t freq_1k=0;

/* USER CODE END PV */

void SystemClock_Config(void);
static void MPU_Config(void);
void MX_FREERTOS_Init(void);

/* USER CODE BEGIN 0 */
HAL_StatusTypeDef ITsta;
extern DMA_HandleTypeDef hdma_uart7_rx;
/* USER CODE END 0 */

int main(void)
{

  /* MPU Configuration--------------------------------------------------------*/

  MPU_Config();

  /* MCU Configuration--------------------------------------------------------*/

  /* Reset of all peripherals, Initializes the Flash interface and the Systick. */
  HAL_Init();

  /* Configure the system clock */
  SystemClock_Config();

  /* Initialize all configured peripherals */
  MX_GPIO_Init();
  MX_DMA_Init();
  MX_FDCAN1_Init();
  MX_FDCAN2_Init();
  MX_SPI2_Init();
  MX_TIM3_Init();
  MX_TIM13_Init();
  MX_TIM14_Init();
  MX_SPI6_Init();
  MX_UART5_Init();
  MX_UART7_Init();
  MX_USART10_UART_Init();
  MX_FDCAN3_Init();
  MX_OCTOSPI2_Init();
  MX_IWDG1_Init();
  MX_USART2_UART_Init();
  MX_USART3_UART_Init();
  MX_USART1_UART_Init();
  MX_TIM12_Init();
  /* USER CODE BEGIN 2 */
  HAL_IWDG_Refresh(&hiwdg1);
  /*INIT*/
  uart_init();
  can_init();
  Refree_system_init();

  /* IMU_init(); */
  Music_init();
  Chassis_init();
  Gimbal_init();
  Shoot_init();
  HAL_IWDG_Refresh(&hiwdg1);
  HAL_GPIO_WritePin(Power_5V_GPIO_Port, Power_5V_Pin, GPIO_PIN_SET);
  HAL_GPIO_WritePin(Camera_ctrl_GPIO_Port, Camera_ctrl_Pin, GPIO_PIN_SET);
  HAL_TIM_Base_Start_IT(&htim14);
  HAL_TIM_Base_Start_IT(&htim13);
  // OSPI_W25Qxx_Init(); // ?????????????????PI?????????25Q64
  // OSPI_W25Qxx_Test(); // Flash????????????????????????

  /* USER CODE END 2 */

  /* Init scheduler */
  osKernelInitialize();

  /* Call init function for freertos objects (in cmsis_os2.c) */
  MX_FREERTOS_Init();

  /* Start scheduler */
  osKernelStart();

  /* We should never get here as control is now taken by the scheduler */

  /* Infinite loop */
  while (1)
  {

  }
}

void SystemClock_Config(void)
{
  RCC_OscInitTypeDef RCC_OscInitStruct = {0};
  RCC_ClkInitTypeDef RCC_ClkInitStruct = {0};

  /** Supply configuration update enable
  */
  HAL_PWREx_ConfigSupply(PWR_LDO_SUPPLY);

  /** Configure the main internal regulator output voltage
  */
  __HAL_PWR_VOLTAGESCALING_CONFIG(PWR_REGULATOR_VOLTAGE_SCALE0);

  while(!__HAL_PWR_GET_FLAG(PWR_FLAG_VOSRDY)) {}

  /** Initializes the RCC Oscillators according to the specified parameters
  * in the RCC_OscInitTypeDef structure.
  */
  RCC_OscInitStruct.OscillatorType = RCC_OSCILLATORTYPE_HSI48|RCC_OSCILLATORTYPE_HSI
                              |RCC_OSCILLATORTYPE_LSI|RCC_OSCILLATORTYPE_HSE;
  RCC_OscInitStruct.HSEState = RCC_HSE_ON;
  RCC_OscInitStruct.HSIState = RCC_HSI_DIV1;
  RCC_OscInitStruct.HSICalibrationValue = 64;
  RCC_OscInitStruct.LSIState = RCC_LSI_ON;
  RCC_OscInitStruct.HSI48State = RCC_HSI48_ON;
  RCC_OscInitStruct.PLL.PLLState = RCC_PLL_ON;
  RCC_OscInitStruct.PLL.PLLSource = RCC_PLLSOURCE_HSE;
  RCC_OscInitStruct.PLL.PLLM = 2;
  RCC_OscInitStruct.PLL.PLLN = 40;
  RCC_OscInitStruct.PLL.PLLP = 1;
  RCC_OscInitStruct.PLL.PLLQ = 4;
  RCC_OscInitStruct.PLL.PLLR = 2;
  RCC_OscInitStruct.PLL.PLLRGE = RCC_PLL1VCIRANGE_3;
  RCC_OscInitStruct.PLL.PLLVCOSEL = RCC_PLL1VCOWIDE;
  RCC_OscInitStruct.PLL.PLLFRACN = 0;
  if (HAL_RCC_OscConfig(&RCC_OscInitStruct) != HAL_OK)
  {
    Error_Handler();
  }

  /** Initializes the CPU, AHB and APB buses clocks
  */
  RCC_ClkInitStruct.ClockType = RCC_CLOCKTYPE_HCLK|RCC_CLOCKTYPE_SYSCLK
                              |RCC_CLOCKTYPE_PCLK1|RCC_CLOCKTYPE_PCLK2
                              |RCC_CLOCKTYPE_D3PCLK1|RCC_CLOCKTYPE_D1PCLK1;
  RCC_ClkInitStruct.SYSCLKSource = RCC_SYSCLKSOURCE_PLLCLK;
  RCC_ClkInitStruct.SYSCLKDivider = RCC_SYSCLK_DIV1;
  RCC_ClkInitStruct.AHBCLKDivider = RCC_HCLK_DIV2;
  RCC_ClkInitStruct.APB3CLKDivider = RCC_APB3_DIV2;
  RCC_ClkInitStruct.APB1CLKDivider = RCC_APB1_DIV2;
  RCC_ClkInitStruct.APB2CLKDivider = RCC_APB2_DIV2;
  RCC_ClkInitStruct.APB4CLKDivider = RCC_APB4_DIV2;

  if (HAL_RCC_ClockConfig(&RCC_ClkInitStruct, FLASH_LATENCY_3) != HAL_OK)
  {
    Error_Handler();
  }
  HAL_RCC_MCOConfig(RCC_MCO1, RCC_MCO1SOURCE_HSI, RCC_MCODIV_1);
  HAL_RCC_MCOConfig(RCC_MCO2, RCC_MCO2SOURCE_SYSCLK, RCC_MCODIV_1);
}

 /* MPU Configuration */

void MPU_Config(void)
{
  MPU_Region_InitTypeDef MPU_InitStruct = {0};

  /* Disables the MPU */
  HAL_MPU_Disable();

  /** Initializes and configures the Region and the memory to be protected
  */
  MPU_InitStruct.Enable = MPU_REGION_ENABLE;
  MPU_InitStruct.Number = MPU_REGION_NUMBER0;
  MPU_InitStruct.BaseAddress = 0x08000000;
  MPU_InitStruct.Size = MPU_REGION_SIZE_1MB;
  MPU_InitStruct.SubRegionDisable = 0x0;
  MPU_InitStruct.TypeExtField = MPU_TEX_LEVEL1;
  MPU_InitStruct.AccessPermission = MPU_REGION_PRIV_RO;
  MPU_InitStruct.DisableExec = MPU_INSTRUCTION_ACCESS_ENABLE;
  MPU_InitStruct.IsShareable = MPU_ACCESS_NOT_SHAREABLE;
  MPU_InitStruct.IsCacheable = MPU_ACCESS_CACHEABLE;
  MPU_InitStruct.IsBufferable = MPU_ACCESS_NOT_BUFFERABLE;

  HAL_MPU_ConfigRegion(&MPU_InitStruct);

  /** Initializes and configures the Region and the memory to be protected
  */
  MPU_InitStruct.Number = MPU_REGION_NUMBER1;
  MPU_InitStruct.BaseAddress = 0x20000000;
  MPU_InitStruct.Size = MPU_REGION_SIZE_128MB;
  MPU_InitStruct.SubRegionDisable = 0xEE;
  MPU_InitStruct.AccessPermission = MPU_REGION_FULL_ACCESS;
  MPU_InitStruct.IsCacheable = MPU_ACCESS_NOT_CACHEABLE;

  HAL_MPU_ConfigRegion(&MPU_InitStruct);

  /** Initializes and configures the Region and the memory to be protected
  */
  MPU_InitStruct.Number = MPU_REGION_NUMBER2;
  HAL_MPU_ConfigRegion(&MPU_InitStruct);

  /** Initializes and configures the Region and the memory to be protected
  */
  MPU_InitStruct.Number = MPU_REGION_NUMBER3;
  HAL_MPU_ConfigRegion(&MPU_InitStruct);

  /** Initializes and configures the Region and the memory to be protected
  */
  MPU_InitStruct.Number = MPU_REGION_NUMBER4;
  HAL_MPU_ConfigRegion(&MPU_InitStruct);
  /* Enables the MPU */
  HAL_MPU_Enable(MPU_PRIVILEGED_DEFAULT);

}

void HAL_TIM_PeriodElapsedCallback(TIM_HandleTypeDef *htim)
{
  /* USER CODE BEGIN Callback 0 */
  static int i = 0;
  static uint32_t tick_ms=0;

  /* USER CODE END Callback 0 */
  if (htim->Instance == TIM23)
  {
    HAL_IncTick();
  }
  /* USER CODE BEGIN Callback 1 */
  uint8_t history = 4;
  if (htim->Instance == TIM13) // 1000HZ
  {
    /* freq_1k=1; */
    /* IMU_updata(); */
    tick_ms++;

// 使用取模运算实现1, 2, 3, 4的循环请求
  uint8_t request_type = (tick_ms % 4) + 1;
  IMU_RequestData(&hfdcan3, 0x01, request_type);

  // 当tick_ms到达一个较大的值时清零，防止溢出。
  // 这里用4000是为了方便对齐，1000也可以。
  if (tick_ms >= 4000)
  {
    tick_ms = 0;
  }

  }
  else if (htim->Instance == TIM14) // 200Hz
  {
    if (i == 0)
    {
      HAL_GPIO_WritePin(Camera_ctrl_GPIO_Port, Camera_ctrl_Pin, GPIO_PIN_SET);
      STM32_to_MINIPC();
      i = 1;
    }
    else
    {
      HAL_GPIO_WritePin(Camera_ctrl_GPIO_Port, Camera_ctrl_Pin, GPIO_PIN_RESET);
      i = 0;
    }
  }
  /* USER CODE END Callback 1 */
}

void Error_Handler(void)
{
  __disable_irq();
  while (1)
  {
  }
}

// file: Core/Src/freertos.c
/* USER CODE BEGIN Header */
/**
 ******************************************************************************
 * File Name          : freertos.c
 * Description        : Code for freertos applications
 ******************************************************************************
 * @attention
 *
 * Copyright (c) 2024 STMicroelectronics.
 * All rights reserved.
 *
 * This software is licensed under terms that can be found in the LICENSE file
 * in the root directory of this software component.
 * If no LICENSE file comes with this software, it is provided AS-IS.
 *
 ******************************************************************************
 */
/* USER CODE END Header */

#include "FreeRTOS.h"
#include "task.h"
#include "main.h"
#include "cmsis_os.h"

/* USER CODE BEGIN Includes */
#include "remote_control.h"
#include "Chassis.h"
#include "Gimbal.h"
#include "Global_status.h"
#include "Auto_control.h"
#include "shoot.h"
#include "music.h"

#include "referee_system.h"
#include "motor.h"
#include "dm_motor.h"

#include "supercup.h"
#include "LED.h"
#include "DT7.h"
#include "VT13.h"
#include <cmsis_os2.h>

#include "iwdg.h"
#include "buzzer.h"
/* USER CODE END Includes */

/* USER CODE BEGIN Variables */
uint32_t color = 0;
/* USER CODE END Variables */
/* Definitions for Remote_control */
osThreadId_t Remote_controlHandle;
const osThreadAttr_t Remote_control_attributes = {
    .name = "Remote_control",
    .stack_size = 512 * 4,
    .priority = (osPriority_t)osPriorityNormal,
};
/* Definitions for Gimbal */
osThreadId_t GimbalHandle;
const osThreadAttr_t Gimbal_attributes = {
    .name = "Gimbal",
    .stack_size = 512 * 4,
    .priority = (osPriority_t)osPriorityLow,
};
/* Definitions for Chassis */
osThreadId_t ChassisHandle;
const osThreadAttr_t Chassis_attributes = {
    .name = "Chassis",
    .stack_size = 1024 * 4,
    .priority = (osPriority_t)osPriorityLow,
};
/* Definitions for Motor_control */
osThreadId_t Motor_controlHandle;
const osThreadAttr_t Motor_control_attributes = {
    .name = "Motor_control",
    .stack_size = 256 * 4,
    .priority = (osPriority_t)osPriorityLow,
};
/* Definitions for Shoot */
osThreadId_t ShootHandle;
const osThreadAttr_t Shoot_attributes = {
    .name = "Shoot",
    .stack_size = 256 * 4,
    .priority = (osPriority_t)osPriorityLow,
};
/* Definitions for Referee */
osThreadId_t RefereeHandle;
const osThreadAttr_t Referee_attributes = {
    .name = "Referee",
    .stack_size = 512 * 4,
    .priority = (osPriority_t)osPriorityLow,
};
/* Definitions for Log_and_debug */
osThreadId_t Log_and_debugHandle;
const osThreadAttr_t Log_and_debug_attributes = {
    .name = "Log_and_debug",
    .stack_size = 256 * 4,
    .priority = (osPriority_t)osPriorityLow,
};

void Remote_control_Task(void *argument);
void Gimbal_Task(void *argument);
void Chassis_Task(void *argument);
void Motor_control_Task(void *argument);
void Shoot_Task(void *argument);
void Referee_Task(void *argument);
void Log_and_debug_Task(void *argument);

extern void MX_USB_DEVICE_Init(void);
void MX_FREERTOS_Init(void); /* (MISRA C 2004 rule 8.1) */

/* Hook prototypes */
void vApplicationIdleHook(void);

/* USER CODE BEGIN 2 */
void vApplicationIdleHook(void)
{
  /* vApplicationIdleHook() will only be called if configUSE_IDLE_HOOK is set
  to 1 in FreeRTOSConfig.h. It will be called on each iteration of the idle
  task. It is essential that code added to this hook function never attempts
  to block in any way (for example, call xQueueReceive() with a block time
  specified, or call vTaskDelay()). If the application makes use of the
  vTaskDelete() API function (as this demo application does) then it is also
  important that vApplicationIdleHook() is permitted to return to its calling
  function, because it is the responsibility of the idle task to clean up
  memory allocated by the kernel to any task that has since been deleted. */
}
/* USER CODE END 2 */

void MX_FREERTOS_Init(void)
{

  /* Create the thread(s) */
  /* creation of Remote_control */
  Remote_controlHandle = osThreadNew(Remote_control_Task, NULL, &Remote_control_attributes);

  /* creation of Gimbal */
  GimbalHandle = osThreadNew(Gimbal_Task, NULL, &Gimbal_attributes);

  /* creation of Chassis */
  ChassisHandle = osThreadNew(Chassis_Task, NULL, &Chassis_attributes);

  /* creation of Motor_control */
  Motor_controlHandle = osThreadNew(Motor_control_Task, NULL, &Motor_control_attributes);

  /* creation of Shoot */
  ShootHandle = osThreadNew(Shoot_Task, NULL, &Shoot_attributes);

  /* creation of Referee */
  RefereeHandle = osThreadNew(Referee_Task, NULL, &Referee_attributes);

  /* creation of Log_and_debug */
  Log_and_debugHandle = osThreadNew(Log_and_debug_Task, NULL, &Log_and_debug_attributes);

}

/* USER CODE BEGIN Header_Remote_control_Task */
/**
 * @brief  Function implementing the Remote_control thread.
 * @param  argument: Not used
 * @retval None
 */
extern
    /* USER CODE END Header_Remote_control_Task */
    void
    Remote_control_Task(void *argument)
{
  /* init code for USB_DEVICE */
  MX_USB_DEVICE_Init();
  /* USER CODE BEGIN Remote_control_Task */
  /* Infinite loop */
  for (;;)
  {

    if (DT7_data.online >= 0)
      DT7toRCdata();
    else if (VT13_data.online >= 0)
      VT13toRCdata();
    RC_control();
    // Keyboard_mouse_control();
    osDelay(1);
  }
  /* USER CODE END Remote_control_Task */
}

void Gimbal_Task(void *argument)
{
  /* USER CODE BEGIN Gimbal_Task */
  /* Infinite loop */
  for (;;)
  {
    Gimbal_control();
    // big_yaw_cal();
    osDelay(1);
  }
  /* USER CODE END Gimbal_Task */
}

void Chassis_Task(void *argument)
{
  /* USER CODE BEGIN Chassis_Task */
  /* Infinite loop */
  for (;;)
  {
    // Chassis_move();
    // Supercup_send_data();
    Rudder_Angle_calculation(Global.Chssis.input.x, Global.Chssis.input.y, Global.Chssis.input.r);
    Chassis_course_updata();
    Chassis_course_pid_cal();
    Chassis_velocity_calc(Global.Chssis.input.x, Global.Chssis.input.y, Global.Chssis.input.r);
    osDelay(1);
  }
  /* USER CODE END Chassis_Task */
}

void Motor_control_Task(void *argument)
{
  /* USER CODE BEGIN Motor_control_Task */
  /* Infinite loop */
  for (;;)
  {
    if (Global.Control.mode != LOCK)
      DJIMotor_send_current();

    DMMotor_send_current();
    if (Global.Chssis.input.reset != 1)
      HAL_IWDG_Refresh(&hiwdg1);
    // fdcanx_send_data(&hfdcan1,0x200,can_data,8);
    osDelay(1);
  }
  /* USER CODE END Motor_control_Task */
}

void Shoot_Task(void *argument)
{
  /* USER CODE BEGIN Shoot_Task */
  /* Infinite loop */
  for (;;)
  {
    if (Global.Auto.mode != NONE && Global.Auto.input.Auto_control_online > 0 && Global.Auto.input.fire != -1)
      Auto_control();
    Shoot_task();
    osDelay(1);
  }
  /* USER CODE END Shoot_Task */
}

void Referee_Task(void *argument)
{
  /* USER CODE BEGIN Referee_Task */
  /* Infinite loop */
  for (;;)
  {
    Referee_unpack_fifo_data(&referee_fifo, &referee_unpack_obj);
    osDelay(10);
  }
  /* USER CODE END Referee_Task */
}

void Log_and_debug_Task(void *argument)
{
  /* USER CODE BEGIN Log_and_debug_Task */
  LEDshowcolor(YELLOW);
  osDelay(1500);

  /* Infinite loop */
  for (;;)
  {
    // Music_play(melody);
    LEDshowcolor(RED);
  osDelay(500);
  LEDshowcolor(BLUE);
  osDelay(500);
  LEDshowcolor(GREEN);
  osDelay(500);
  /*   printf("hello\n");
    osDelay(1); */
  }
  /* USER CODE END Log_and_debug_Task */
}
